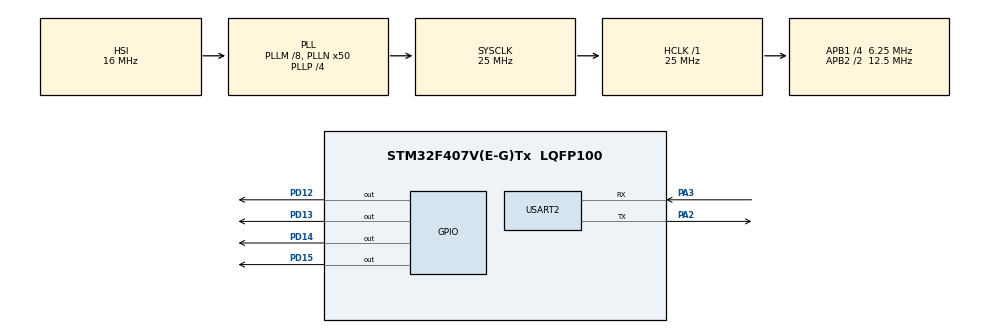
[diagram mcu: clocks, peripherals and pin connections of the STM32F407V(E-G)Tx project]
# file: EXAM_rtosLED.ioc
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FREERTOS.Tasks01=defaultTask,24,128,StartDefaultTask,Default,NULL,Dynamic,NULL,NULL
FREERTOS.configUSE_NEWLIB_REENTRANT=1
Mcu.Family=STM32F4
Mcu.Name=STM32F407V(E-G)Tx
Mcu.Package=LQFP100
NVIC.PriorityGroup=NVIC_PRIORITYGROUP_4
NVIC.TIM6_DAC_IRQn=true\:15\:0\:false\:false\:true\:false\:false\:true\:true
NVIC.TimeBase=TIM6_DAC_IRQn
NVIC.TimeBaseIP=TIM6
PA2.Mode=Asynchronous
PA2.Signal=USART2_TX
PA3.Mode=Asynchronous
PA3.Signal=USART2_RX
PD12.Signal=GPIO_Output
PD13.Signal=GPIO_Output
PD14.Signal=GPIO_Output
PD15.Signal=GPIO_Output
ProjectManager.HeapSize=0x200
ProjectManager.StackSize=0x400
ProjectManager.TargetToolchain=STM32CubeIDE
RCC.48MHZClocksFreq_Value=14285714.285714285
RCC.AHBFreq_Value=25000000
RCC.APB1CLKDivider=RCC_HCLK_DIV4
RCC.APB1Freq_Value=6250000
RCC.APB1TimFreq_Value=12500000
RCC.APB2CLKDivider=RCC_HCLK_DIV2
RCC.APB2Freq_Value=12500000
RCC.APB2TimFreq_Value=25000000
RCC.CortexFreq_Value=25000000
RCC.HCLKFreq_Value=25000000
RCC.HSE_VALUE=8000000
RCC.HSI_VALUE=16000000
RCC.LSE_VALUE=32768
RCC.PLLM=8
RCC.PLLN=50
RCC.PLLP=RCC_PLLP_DIV4
RCC.PLLQ=7
RCC.SYSCLKFreq_VALUE=25000000
RCC.SYSCLKSource=RCC_SYSCLKSOURCE_PLLCLK
RCC.VCOOutputFreq_Value=100000000
USART2.VirtualMode=VM_ASYNC
VP_FREERTOS_VS_CMSIS_V2.Mode=CMSIS_V2
VP_SYS_VS_tim6.Mode=TIM6
board=STM32F407G-DISC1

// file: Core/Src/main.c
/* USER CODE BEGIN Header */
/**
  ******************************************************************************
  * @file           : main.c
  * @brief          : Main program body
  ******************************************************************************
  * @attention
  *
  * Copyright (c) 2026 STMicroelectronics.
  * All rights reserved.
  *
  * This software is licensed under terms that can be found in the LICENSE file
  * in the root directory of this software component.
  * If no LICENSE file comes with this software, it is provided AS-IS.
  *
  ******************************************************************************
  */
/* USER CODE END Header */
#include "main.h"
#include "cmsis_os.h"

/* USER CODE BEGIN Includes */
#include "queue.h"
#include "semphr.h"
#include <stdio.h>
#include <string.h>
/* USER CODE END Includes */

UART_HandleTypeDef huart2;

/* Definitions for defaultTask */
osThreadId_t defaultTaskHandle;
const osThreadAttr_t defaultTask_attributes = {
  .name = "defaultTask",
  .stack_size = 128 * 4,
  .priority = (osPriority_t) osPriorityNormal,
};
/* USER CODE BEGIN PV */
QueueHandle_t xTempQueue;
QueueHandle_t xAvgQueue;
SemaphoreHandle_t xUARTSemaphore;

TaskHandle_t xTask5Handle;

uint32_t TempArray[8]={30,50,35,31,50,33,40,1};

uint32_t MaxTemp,MinTemp,AvgTemp;
/* USER CODE END PV */

void SystemClock_Config(void);
static void MX_GPIO_Init(void);
static void MX_USART2_UART_Init(void);
void StartDefaultTask(void *argument);

/* USER CODE BEGIN PFP */
void vLEDTask(void *pvParam);
void vSenderTask(void *pvParam);
void vProcessTask(void *pvParam);
void vDisplayLEDTask(void *pvParam);
void vUARTTask(void *pvParam);
/* USER CODE END PFP */

/* USER CODE BEGIN 0 */
void vLEDTask(void *pvParam)
{
    TickType_t xLastWakeTime=xTaskGetTickCount();

    while(1)
    {
        HAL_GPIO_TogglePin(GPIOD,GPIO_PIN_15);
        vTaskDelayUntil(&xLastWakeTime,pdMS_TO_TICKS(1000));
    }
}

void vSenderTask(void *pvParam)
{
    uint32_t *arr=(uint32_t *)pvParam;

    while(1)
    {
        for(int i=0;i<8;i++)
            xQueueSend(xTempQueue,&arr[i],portMAX_DELAY);

        vTaskDelay(pdMS_TO_TICKS(8000));
    }
}

void vProcessTask(void *pvParam)
{
    uint32_t value,sum;

    while(1)
    {
        sum=0;

        for(int i=0;i<8;i++)
        {
            xQueueReceive(xTempQueue,&value,portMAX_DELAY);

            if(i==0)
            {
                MaxTemp=value;
                MinTemp=value;
            }

            if(value>MaxTemp)
                MaxTemp=value;

            if(value<MinTemp)
                MinTemp=value;

            sum+=value;
        }

        AvgTemp=sum/8;

        xQueueSend(xAvgQueue,&AvgTemp,portMAX_DELAY);
    }
}

void vDisplayLEDTask(void *pvParam)
{
    uint32_t Avg;

    while(1)
    {
        xQueueReceive(xAvgQueue,&Avg,portMAX_DELAY);

        if(Avg>32)
        {
            HAL_GPIO_WritePin(GPIOD,
            GPIO_PIN_12|GPIO_PIN_13|GPIO_PIN_14,
            GPIO_PIN_SET);
        }
        else
        {
            HAL_GPIO_WritePin(GPIOD,
            GPIO_PIN_12|GPIO_PIN_13|GPIO_PIN_14,
            GPIO_PIN_RESET);
        }
    }
}

void vUARTTask(void *pvParam)
{
    char msg[100];

    while(1)
    {
        xSemaphoreTake(xUARTSemaphore,portMAX_DELAY);

        sprintf(msg,
        "Max=%lu  Min=%lu  Avg=%lu\r\n",
        MaxTemp,MinTemp,AvgTemp);

        HAL_UART_Transmit(&huart2,
        (uint8_t *)msg,
        strlen(msg),
        HAL_MAX_DELAY);

        xSemaphoreGive(xUARTSemaphore);

        vTaskDelay(pdMS_TO_TICKS(3000));
    }
}
/* USER CODE END 0 */

int main(void)
{

  /* MCU Configuration--------------------------------------------------------*/

  /* Reset of all peripherals, Initializes the Flash interface and the Systick. */
  HAL_Init();

  /* Configure the system clock */
  SystemClock_Config();

  /* Initialize all configured peripherals */
  MX_GPIO_Init();
  MX_USART2_UART_Init();

  /* Init scheduler */
  osKernelInitialize();

  /* USER CODE BEGIN RTOS_SEMAPHORES */
  /* add semaphores, ... */
  xUARTSemaphore=xSemaphoreCreateBinary();
  xSemaphoreGive(xUARTSemaphore);
  /* USER CODE END RTOS_SEMAPHORES */

  /* USER CODE BEGIN RTOS_QUEUES */
  /* add queues, ... */
  xTempQueue=xQueueCreate(8,sizeof(uint32_t));
  xAvgQueue=xQueueCreate(1,sizeof(uint32_t));

  /* USER CODE END RTOS_QUEUES */

  /* Create the thread(s) */
  /* creation of defaultTask */
  defaultTaskHandle = osThreadNew(StartDefaultTask, NULL, &defaultTask_attributes);

  /* USER CODE BEGIN RTOS_THREADS */
  /* add threads, ... */
  xTaskCreate(vLEDTask,
  "LED",
  configMINIMAL_STACK_SIZE,
  NULL,
  1,
  NULL);

  xTaskCreate(vSenderTask,
  "Sender",
  configMINIMAL_STACK_SIZE,
  TempArray,
  4,
  NULL);

  xTaskCreate(vProcessTask,
  "Process",
  configMINIMAL_STACK_SIZE,
  NULL,
  3,
  NULL);

  xTaskCreate(vDisplayLEDTask,
  "Display",
  configMINIMAL_STACK_SIZE,
  NULL,
  2,
  NULL);

  xTaskCreate(vUARTTask,
  "UART",
  configMINIMAL_STACK_SIZE,
  NULL,
  1,
  &xTask5Handle);

  /* USER CODE END RTOS_THREADS */

  /* Start scheduler */
  osKernelStart();

  /* We should never get here as control is now taken by the scheduler */

  /* Infinite loop */
  while (1)
  {

  }
}

void SystemClock_Config(void)
{
  RCC_OscInitTypeDef RCC_OscInitStruct = {0};
  RCC_ClkInitTypeDef RCC_ClkInitStruct = {0};

  /** Configure the main internal regulator output voltage
  */
  __HAL_RCC_PWR_CLK_ENABLE();
  __HAL_PWR_VOLTAGESCALING_CONFIG(PWR_REGULATOR_VOLTAGE_SCALE1);

  /** Initializes the RCC Oscillators according to the specified parameters
  * in the RCC_OscInitTypeDef structure.
  */
  RCC_OscInitStruct.OscillatorType = RCC_OSCILLATORTYPE_HSI;
  RCC_OscInitStruct.HSIState = RCC_HSI_ON;
  RCC_OscInitStruct.HSICalibrationValue = RCC_HSICALIBRATION_DEFAULT;
  RCC_OscInitStruct.PLL.PLLState = RCC_PLL_ON;
  RCC_OscInitStruct.PLL.PLLSource = RCC_PLLSOURCE_HSI;
  RCC_OscInitStruct.PLL.PLLM = 8;
  RCC_OscInitStruct.PLL.PLLN = 50;
  RCC_OscInitStruct.PLL.PLLP = RCC_PLLP_DIV4;
  RCC_OscInitStruct.PLL.PLLQ = 7;
  if (HAL_RCC_OscConfig(&RCC_OscInitStruct) != HAL_OK)
  {
    Error_Handler();
  }

  /** Initializes the CPU, AHB and APB buses clocks
  */
  RCC_ClkInitStruct.ClockType = RCC_CLOCKTYPE_HCLK|RCC_CLOCKTYPE_SYSCLK
                              |RCC_CLOCKTYPE_PCLK1|RCC_CLOCKTYPE_PCLK2;
  RCC_ClkInitStruct.SYSCLKSource = RCC_SYSCLKSOURCE_PLLCLK;
  RCC_ClkInitStruct.AHBCLKDivider = RCC_SYSCLK_DIV1;
  RCC_ClkInitStruct.APB1CLKDivider = RCC_HCLK_DIV4;
  RCC_ClkInitStruct.APB2CLKDivider = RCC_HCLK_DIV2;

  if (HAL_RCC_ClockConfig(&RCC_ClkInitStruct, FLASH_LATENCY_0) != HAL_OK)
  {
    Error_Handler();
  }
}

static void MX_USART2_UART_Init(void)
{

  huart2.Instance = USART2;
  huart2.Init.BaudRate = 115200;
  huart2.Init.WordLength = UART_WORDLENGTH_8B;
  huart2.Init.StopBits = UART_STOPBITS_1;
  huart2.Init.Parity = UART_PARITY_NONE;
  huart2.Init.Mode = UART_MODE_TX_RX;
  huart2.Init.HwFlowCtl = UART_HWCONTROL_NONE;
  huart2.Init.OverSampling = UART_OVERSAMPLING_16;
  if (HAL_UART_Init(&huart2) != HAL_OK)
  {
    Error_Handler();
  }

}

static void MX_GPIO_Init(void)
{
  GPIO_InitTypeDef GPIO_InitStruct = {0};

  /* GPIO Ports Clock Enable */
  __HAL_RCC_GPIOA_CLK_ENABLE();
  __HAL_RCC_GPIOD_CLK_ENABLE();

  /*Configure GPIO pin Output Level */
  HAL_GPIO_WritePin(GPIOD, GPIO_PIN_12|GPIO_PIN_13|GPIO_PIN_14|GPIO_PIN_15, GPIO_PIN_RESET);

  /*Configure GPIO pins : PD12 PD13 PD14 PD15 */
  GPIO_InitStruct.Pin = GPIO_PIN_12|GPIO_PIN_13|GPIO_PIN_14|GPIO_PIN_15;
  GPIO_InitStruct.Mode = GPIO_MODE_OUTPUT_PP;
  GPIO_InitStruct.Pull = GPIO_NOPULL;
  GPIO_InitStruct.Speed = GPIO_SPEED_FREQ_LOW;
  HAL_GPIO_Init(GPIOD, &GPIO_InitStruct);

}

void StartDefaultTask(void *argument)
{
  for(;;)
  {
    osDelay(1);
  }
}

void HAL_TIM_PeriodElapsedCallback(TIM_HandleTypeDef *htim)
{
  if (htim->Instance == TIM6)
  {
    HAL_IncTick();
  }
}

void Error_Handler(void)
{
  __disable_irq();
  while (1)
  {
  }
}

///*
//          create a following RTOS tasks:
//          1.TASK 1 (Low Priority)
//          -Blink the on-Board LED every 1000ms.
//          2.TASK 2
//          -Take an array of 8 temperature reading as the arguments.
//          -Example:{30,28,35,31,29,33,36,32}
//          -send each temperature value one-by-one to a queue.
//          3.TASK 3
//          -Receive all temperature values from the queue
//          -calculate:
//          -Maximum Temperature
//          -Minimum Temperature
//          -Average Temperature
//          -Send the Average Temperature to another queue
//
//          4.TASK 4
//          -Receive the Average Temperature.
//          -if Average Temperature > 32 c, turn ON all three LEDs.
//          -Otherwise, turn Off all LEDs
//
//          5.TASK 5
//          -Display the Maximum Temperature, Minimum Temperature and Average
//          Temperature   on UART every 3 seconds
//
//          REQUIREMENTS:-
//          -Create separate FreeRTOS tasks for each functionality
//          -Use Queue for inter-task communication
//          -Use Binary Semaphore for UART access.
//          -Assign appropriate task Priorities
//
//
//          only give code which i need to past dont give cubemx code
//          and give in one page
//
//
//
//
//
//
//          /* USER CODE BEGIN Includes */
//#include "queue.h"
//#include "semphr.h"
//#include <stdio.h>
//#include <string.h>
///* USER CODE END Includes */
//
//
///* USER CODE BEGIN PV */
//
//QueueHandle_t xTempQueue;
//QueueHandle_t xAvgQueue;
//SemaphoreHandle_t xUARTSemaphore;
//
//TaskHandle_t xTask5Handle;
//
//uint32_t TempArray[8]={30,28,35,31,29,33,36,32};
//
//uint32_t MaxTemp,MinTemp,AvgTemp;
//
///* USER CODE END PV */
//
//
///* USER CODE BEGIN PFP */
//
//void vLEDTask(void *pvParam);
//void vSenderTask(void *pvParam);
//void vProcessTask(void *pvParam);
//void vDisplayLEDTask(void *pvParam);
//void vUARTTask(void *pvParam);
//
///* USER CODE END PFP */
//
//
///* USER CODE BEGIN 0 */
//
//void vLEDTask(void *pvParam)
//{
//    TickType_t xLastWakeTime=xTaskGetTickCount();
//
//    while(1)
//    {
//        HAL_GPIO_TogglePin(GPIOD,GPIO_PIN_15);
//        vTaskDelayUntil(&xLastWakeTime,pdMS_TO_TICKS(1000));
//    }
//}
//
//void vSenderTask(void *pvParam)
//{
//    uint32_t *arr=(uint32_t *)pvParam;
//
//    while(1)
//    {
//        for(int i=0;i<8;i++)
//            xQueueSend(xTempQueue,&arr[i],portMAX_DELAY);
//
//        vTaskDelay(pdMS_TO_TICKS(8000));
//    }
//}
//
//void vProcessTask(void *pvParam)
//{
//    uint32_t value,sum;
//
//    while(1)
//    {
//        sum=0;
//
//        for(int i=0;i<8;i++)
//        {
//            xQueueReceive(xTempQueue,&value,portMAX_DELAY);
//
//            if(i==0)
//            {
//                MaxTemp=value;
//                MinTemp=value;
//            }
//
//            if(value>MaxTemp)
//                MaxTemp=value;
//
//            if(value<MinTemp)
//                MinTemp=value;
//
//            sum+=value;
//        }
//
//        AvgTemp=sum/8;
//
//        xQueueSend(xAvgQueue,&AvgTemp,portMAX_DELAY);
//    }
//}
//
//void vDisplayLEDTask(void *pvParam)
//{
//    uint32_t Avg;
//
//    while(1)
//    {
//        xQueueReceive(xAvgQueue,&Avg,portMAX_DELAY);
//
//        if(Avg>32)
//        {
//            HAL_GPIO_WritePin(GPIOD,
//            GPIO_PIN_12|GPIO_PIN_13|GPIO_PIN_14,
//            GPIO_PIN_SET);
//        }
//        else
//        {
//            HAL_GPIO_WritePin(GPIOD,
//            GPIO_PIN_12|GPIO_PIN_13|GPIO_PIN_14,
//            GPIO_PIN_RESET);
//        }
//    }
//}
//
//void vUARTTask(void *pvParam)
//{
//    char msg[100];
//
//    while(1)
//    {
//        xSemaphoreTake(xUARTSemaphore,portMAX_DELAY);
//
//        sprintf(msg,
//        "Max=%lu  Min=%lu  Avg=%lu\r\n",
//        MaxTemp,MinTemp,AvgTemp);
//
//        HAL_UART_Transmit(&huart2,
//        (uint8_t *)msg,
//        strlen(msg),
//        HAL_MAX_DELAY);
//
//        xSemaphoreGive(xUARTSemaphore);
//
//        vTaskDelay(pdMS_TO_TICKS(3000));
//    }
//}
//
///* USER CODE END 0 */
//
//
///* USER CODE BEGIN RTOS_SEMAPHORES */
//
//xUARTSemaphore=xSemaphoreCreateBinary();
//xSemaphoreGive(xUARTSemaphore);
//
///* USER CODE END RTOS_SEMAPHORES */
//
//
///* USER CODE BEGIN RTOS_QUEUES */
//
//xTempQueue=xQueueCreate(8,sizeof(uint32_t));
//xAvgQueue=xQueueCreate(1,sizeof(uint32_t));
//
///* USER CODE END RTOS_QUEUES */
//
//
///* USER CODE BEGIN RTOS_THREADS */
//
//xTaskCreate(vLEDTask,
//"LED",
//configMINIMAL_STACK_SIZE,
//NULL,
//1,
//NULL);
//
//xTaskCreate(vSenderTask,
//"Sender",
//configMINIMAL_STACK_SIZE,
//TempArray,
//2,
//NULL);
//
//xTaskCreate(vProcessTask,
//"Process",
//configMINIMAL_STACK_SIZE,
//NULL,
//3,
//NULL);
//
//xTaskCreate(vDisplayLEDTask,
//"Display",
//configMINIMAL_STACK_SIZE,
//NULL,
//2,
//NULL);
//
//xTaskCreate(vUARTTask,
//"UART",
//configMINIMAL_STACK_SIZE,
//NULL,
//4,
//&xTask5Handle);
//
///* USER CODE END RTOS_THREADS */

               // */
